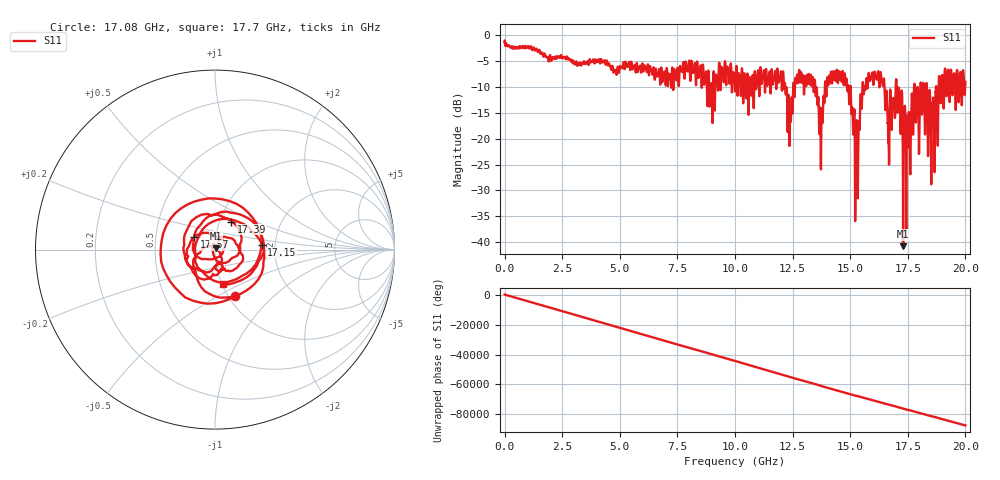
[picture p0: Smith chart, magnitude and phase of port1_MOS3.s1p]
! MS46122B
! 2250307/22442219
! 6/18/2025 7:49:50 AM
! C:\USERS\SPARKY\DOCUMENTS\VNA_DATA\JUNE18_2025\3.0K\PORT1_MOS3.S1P
! CHANNEL.1
! TR.MEASUREMENT
! RAW.DATA
# GHZ S RI R 50.0
! FREQ.GHZ  S11RE  S11IM
!; PortSelection: Port_1
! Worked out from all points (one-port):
!   10001 points, 1 MHz to 20 GHz, reference 50 ohm
!   lowest |S11| = -40.8 dB at 17.3 GHz (marker M1), VSWR 1.02, Z = 50.4 + j0.815 ohm
!   |S11| at or under -10 dB: 15.02 GHz to 15.53 GHz (508.3 MHz wide, 3.33 % of centre); 16.49 GHz to 16.98 GHz (482 MHz wide, 2.88 % of centre); 17.02 GHz to 17.77 GHz (755 MHz wide, 4.34 % of centre) (the widest 3 of 56)
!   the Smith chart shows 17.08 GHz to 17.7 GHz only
!   S11 on the Smith chart (normalised r, x): 17.08 GHz: 1.07, -0.61; 17.15 GHz: 1.70, +0.09; 17.39 GHz: 1.14, +0.37; 17.57 GHz: 0.78, +0.11; 17.7 GHz: 1.01, -0.41
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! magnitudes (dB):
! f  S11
! 1 MHz  -1.3
! 2.501 GHz  -4.4
! 5.001 GHz  -6.1
! 7.501 GHz  -6.4
! 10 GHz  -10.2
! 11.92 GHz  -8.0
! 12.35 GHz  -17.9
! 12.5 GHz  -14.3
! 13.29 GHz  -7.7
! 13.73 GHz  -25.9
! 14.34 GHz  -7.0
! 15 GHz  -10.0
! 15.3 GHz  -18.2
! 15.53 GHz  -9.9
! 15.87 GHz  -8.4
! 16.39 GHz  -9.1
! 16.71 GHz  -14.5
! 17.08 GHz  -10.9
! 17.15 GHz  -11.7
! 17.3 GHz  -40.8
! 17.39 GHz  -14.8
! 17.5 GHz  -18.8
! 17.57 GHz  -17.3
! 17.7 GHz  -14.0
! 18.12 GHz  -14.9
! 18.58 GHz  -13.4
! 18.93 GHz  -12.3
! 20 GHz  -9.0
